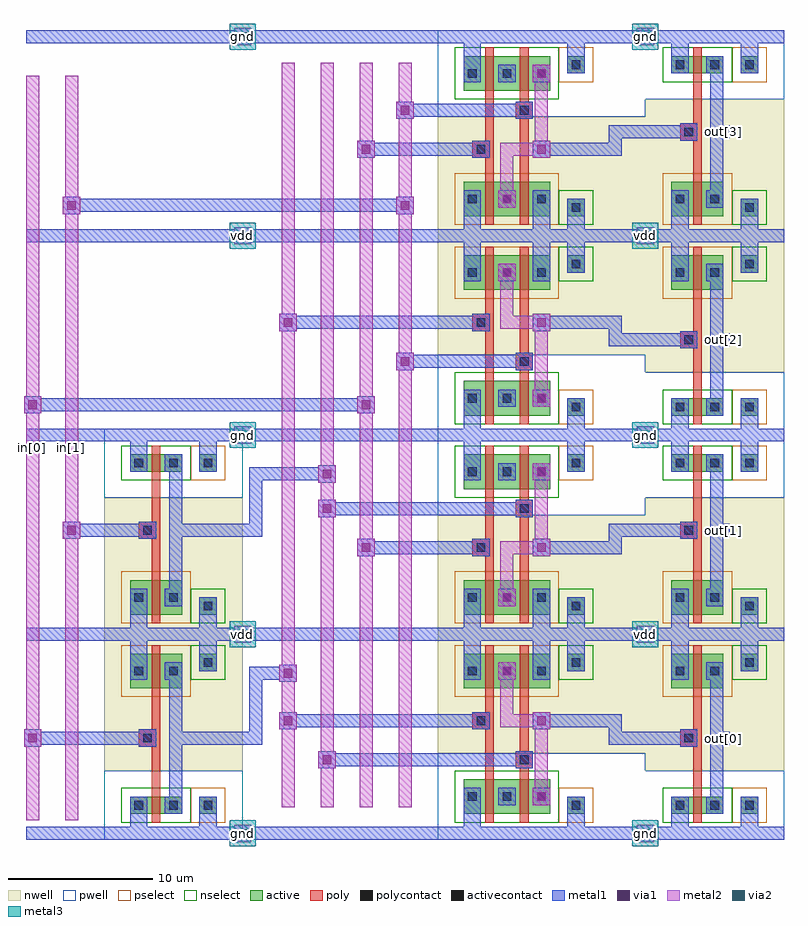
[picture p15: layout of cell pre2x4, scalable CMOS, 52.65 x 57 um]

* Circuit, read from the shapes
.subckt pre2x4 gnd in[0] in[1] out[0] out[1] out[2] out[3] vdd
M1 pnand2_3_6/A in[0] gnd gnd nfet w=1.2u l=0.6u
M2 pnand2_3_6/B in[1] gnd gnd nfet w=1.2u l=0.6u
M3 pnand2_3_6/nmos_m1_w2_4_a_p_2/D pnand2_3_6/A gnd gnd nfet w=2.4u l=0.6u
M4 pnand2_3_7/nmos_m1_w2_4_a_p_2/D in[0] gnd gnd nfet w=2.4u l=0.6u
M5 pnand2_3_8/nmos_m1_w2_4_a_p_2/D pnand2_3_6/A gnd gnd nfet w=2.4u l=0.6u
M6 pnand2_3_9/nmos_m1_w2_4_a_p_2/D in[0] gnd gnd nfet w=2.4u l=0.6u
M7 pinv_12_2/A pnand2_3_6/B pnand2_3_6/nmos_m1_w2_4_a_p_2/D gnd nfet w=2.4u l=0.6u
M8 pinv_12_3/A pnand2_3_6/B pnand2_3_7/nmos_m1_w2_4_a_p_2/D gnd nfet w=2.4u l=0.6u
M9 pinv_12_4/A in[1] pnand2_3_8/nmos_m1_w2_4_a_p_2/D gnd nfet w=2.4u l=0.6u
M10 pinv_12_5/A in[1] pnand2_3_9/nmos_m1_w2_4_a_p_2/D gnd nfet w=2.4u l=0.6u
M11 out[0] pinv_12_2/A gnd gnd nfet w=1.2u l=0.6u
M12 out[1] pinv_12_3/A gnd gnd nfet w=1.2u l=0.6u
M13 out[2] pinv_12_4/A gnd gnd nfet w=1.2u l=0.6u
M14 out[3] pinv_12_5/A gnd gnd nfet w=1.2u l=0.6u
M15 pnand2_3_6/A in[0] vdd vdd pfet w=2.4u l=0.6u
M16 pnand2_3_6/B in[1] vdd vdd pfet w=2.4u l=0.6u
M17 pinv_12_2/A pnand2_3_6/A vdd vdd pfet w=2.4u l=0.6u
M18 pinv_12_3/A in[0] vdd vdd pfet w=2.4u l=0.6u
M19 pinv_12_4/A pnand2_3_6/A vdd vdd pfet w=2.4u l=0.6u
M20 pinv_12_5/A in[0] vdd vdd pfet w=2.4u l=0.6u
M21 vdd pnand2_3_6/B pinv_12_2/A vdd pfet w=2.4u l=0.6u
M22 vdd pnand2_3_6/B pinv_12_3/A vdd pfet w=2.4u l=0.6u
M23 vdd in[1] pinv_12_4/A vdd pfet w=2.4u l=0.6u
M24 vdd in[1] pinv_12_5/A vdd pfet w=2.4u l=0.6u
M25 out[0] pinv_12_2/A vdd vdd pfet w=2.4u l=0.6u
M26 out[1] pinv_12_3/A vdd vdd pfet w=2.4u l=0.6u
M27 out[2] pinv_12_4/A vdd vdd pfet w=2.4u l=0.6u
M28 out[3] pinv_12_5/A vdd vdd pfet w=2.4u l=0.6u
.ends

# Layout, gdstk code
from math import pi, radians
import gdstk
lib = gdstk.Library(unit=1e-6, precision=1e-09)
def R(c, l, rs):  # rectangles x0, y0, x1, y1
    for r in rs: c.add(gdstk.rectangle(r[:2], r[2:], *l))
def A(c, l, x, y, w, h, nx, ny, dx, dy):  # array of equal rectangles
    R(c, l, [(x+i*dx, y+j*dy, x+i*dx+w, y+j*dy+h) for i in range(nx) for j in range(ny)])
pwell = (41, 0)
nwell = (42, 0)
active = (43, 0)
pselect = (44, 0)
nselect = (45, 0)
poly = (46, 0)
polycontact = (47, 0)
activecontact = (48, 0)
metal1 = (49, 0)
via1 = (50, 0)
metal2 = (51, 0)
via2 = (61, 0)
metal3 = (62, 0)

active_contact_metal1_1x = lib.new_cell('active_contact_metal1_1x1_pn')
R(active_contact_metal1_1x, nwell, [(-1.8,-1.8,3,3)])
R(active_contact_metal1_1x, active, [(0,0,1.2,1.2)])
R(active_contact_metal1_1x, pselect, [(-0.6,-0.6,1.8,1.8)])
R(active_contact_metal1_1x, activecontact, [(0.3,0.3,0.9,0.9)])
R(active_contact_metal1_1x, metal1, [(0,0,1.2,1.2)])

pmos_m1_w2_4_a_p = lib.new_cell('pmos_m1_w2_4_a_p')
R(pmos_m1_w2_4_a_p, nwell, [(-1.8,-1.8,5.4,4.2)])
R(pmos_m1_w2_4_a_p, active, [(0,0,3.6,2.4)])
R(pmos_m1_w2_4_a_p, pselect, [(-0.6,-0.6,4.2,3)])
R(pmos_m1_w2_4_a_p, poly, [(1.5,-0.6,2.1,3), (1.5,-0.6,2.1,3)])
R(pmos_m1_w2_4_a_p, metal1, [(0,0.6,1.2,1.8), (2.4,0.6,3.6,1.8)])
pmos_m1_w2_4_a_p.add(gdstk.Reference(active_contact_metal1_1x, (0,0.6)))
pmos_m1_w2_4_a_p.add(gdstk.Reference(active_contact_metal1_1x, (2.4,0.6)))
pmos_m1_w2_4_a_p.add(gdstk.Label('G', (1.8,1.2), layer=46, texttype=0))
pmos_m1_w2_4_a_p.add(gdstk.Label('S', (0.6,1.2), layer=49, texttype=0))
pmos_m1_w2_4_a_p.add(gdstk.Label('D', (3,1.2), layer=49, texttype=0))

c_active_contact_metal1_1x = lib.new_cell('active_contact_metal1_1x1_np')
R(c_active_contact_metal1_1x, pwell, [(-1.8,-1.8,3,3)])
R(c_active_contact_metal1_1x, active, [(0,0,1.2,1.2)])
R(c_active_contact_metal1_1x, nselect, [(-0.6,-0.6,1.8,1.8)])
R(c_active_contact_metal1_1x, activecontact, [(0.3,0.3,0.9,0.9)])
R(c_active_contact_metal1_1x, metal1, [(0,0,1.2,1.2)])

nmos_m1_w1_2_a_p = lib.new_cell('nmos_m1_w1_2_a_p')
R(nmos_m1_w1_2_a_p, pwell, [(-1.8,-1.8,5.4,3)])
R(nmos_m1_w1_2_a_p, active, [(0,0,3.6,1.2)])
R(nmos_m1_w1_2_a_p, nselect, [(-0.6,-0.6,4.2,1.8)])
R(nmos_m1_w1_2_a_p, poly, [(1.5,-0.6,2.1,1.8), (1.5,-0.6,2.1,1.8)])
R(nmos_m1_w1_2_a_p, metal1, [(0,0,1.2,1.2), (2.4,0,3.6,1.2)])
nmos_m1_w1_2_a_p.add(gdstk.Reference(c_active_contact_metal1_1x, (0,0)))
nmos_m1_w1_2_a_p.add(gdstk.Reference(c_active_contact_metal1_1x, (2.4,0)))
nmos_m1_w1_2_a_p.add(gdstk.Label('G', (1.8,0.6), layer=46, texttype=0))
nmos_m1_w1_2_a_p.add(gdstk.Label('S', (0.6,0.6), layer=49, texttype=0))
nmos_m1_w1_2_a_p.add(gdstk.Label('D', (3,0.6), layer=49, texttype=0))

c_active_contact_metal1_1x_ = lib.new_cell('active_contact_metal1_1x1_nn')
R(c_active_contact_metal1_1x_, nwell, [(-1.8,-1.8,3,3)])
R(c_active_contact_metal1_1x_, active, [(0,0,1.2,1.2)])
R(c_active_contact_metal1_1x_, nselect, [(-0.6,-0.6,1.8,1.8)])
R(c_active_contact_metal1_1x_, activecontact, [(0.3,0.3,0.9,0.9)])
R(c_active_contact_metal1_1x_, metal1, [(0,0,1.2,1.2)])

c_active_contact_metal1_1x__ = lib.new_cell('active_contact_metal1_1x1_pp')
R(c_active_contact_metal1_1x__, pwell, [(-1.8,-1.8,3,3)])
R(c_active_contact_metal1_1x__, active, [(0,0,1.2,1.2)])
R(c_active_contact_metal1_1x__, pselect, [(-0.6,-0.6,1.8,1.8)])
R(c_active_contact_metal1_1x__, activecontact, [(0.3,0.3,0.9,0.9)])
R(c_active_contact_metal1_1x__, metal1, [(0,0,1.2,1.2)])

poly_contact_metal1_1x1 = lib.new_cell('poly_contact_metal1_1x1')
R(poly_contact_metal1_1x1, poly, [(0,0,1.2,1.2)])
R(poly_contact_metal1_1x1, polycontact, [(0.3,0.3,0.9,0.9)])
R(poly_contact_metal1_1x1, metal1, [(0,0,1.2,1.2)])

pinv_12 = lib.new_cell('pinv_12')
R(pinv_12, pwell, [(0,-0.45,9.6,4.35)])
R(pinv_12, nwell, [(0,4.35,9.6,14.25)])
R(pinv_12, poly, [(3.3,0.75,3.9,9.45), (3,6,3.3,7.2)])
R(pinv_12, metal1, [(0,-0.45,9.6,0.45), (1.8,-0.45,3,1.35), (6.6,0,7.8,1.95), (4.5,1.35,5.4,10.65), (2.4,6,3.6,7.2), (4.95,6.15,5.85,7.05), (1.8,10.65,3,14.25), (6.6,11.85,7.8,13.8), (0,13.35,9.6,14.25)])
pinv_12.add(gdstk.Reference(pmos_m1_w2_4_a_p, (1.8,10.05)))
pinv_12.add(gdstk.Reference(nmos_m1_w1_2_a_p, (1.8,1.35)))
pinv_12.add(gdstk.Reference(c_active_contact_metal1_1x_, (6.6,11.25)))
pinv_12.add(gdstk.Reference(c_active_contact_metal1_1x__, (6.6,1.35)))
pinv_12.add(gdstk.Reference(poly_contact_metal1_1x1, (2.4,6)))
pinv_12.add(gdstk.Label('gnd', (4.8,0), layer=49, texttype=0))
pinv_12.add(gdstk.Label('vdd', (4.8,13.8), layer=49, texttype=0))
pinv_12.add(gdstk.Label('A', (3,6.6), layer=49, texttype=0))
pinv_12.add(gdstk.Label('Z', (5.4,6.6), layer=49, texttype=0))

nmos_m1_w2_4_a_p = lib.new_cell('nmos_m1_w2_4_a_p')
R(nmos_m1_w2_4_a_p, pwell, [(-1.8,-1.8,5.4,4.2)])
R(nmos_m1_w2_4_a_p, active, [(0,0,3.6,2.4)])
R(nmos_m1_w2_4_a_p, nselect, [(-0.6,-0.6,4.2,3)])
R(nmos_m1_w2_4_a_p, poly, [(1.5,-0.6,2.1,3), (1.5,-0.6,2.1,3)])
R(nmos_m1_w2_4_a_p, metal1, [(0,0.6,1.2,1.8), (2.4,0.6,3.6,1.8)])
nmos_m1_w2_4_a_p.add(gdstk.Reference(c_active_contact_metal1_1x, (0,0.6)))
nmos_m1_w2_4_a_p.add(gdstk.Reference(c_active_contact_metal1_1x, (2.4,0.6)))
nmos_m1_w2_4_a_p.add(gdstk.Label('G', (1.8,1.2), layer=46, texttype=0))
nmos_m1_w2_4_a_p.add(gdstk.Label('S', (0.6,1.2), layer=49, texttype=0))
nmos_m1_w2_4_a_p.add(gdstk.Label('D', (3,1.2), layer=49, texttype=0))

metal1_via1_metal2_1x1 = lib.new_cell('metal1_via1_metal2_1x1')
R(metal1_via1_metal2_1x1, metal1, [(0,0,1.2,1.2)])
R(metal1_via1_metal2_1x1, via1, [(0.3,0.3,0.9,0.9)])
R(metal1_via1_metal2_1x1, metal2, [(0,0,1.2,1.2)])

pnand2_3 = lib.new_cell('pnand2_3')
R(pnand2_3, pwell, [(0,-0.45,14.4,5.55)])
R(pnand2_3, nwell, [(0,5.55,14.4,14.25)])
R(pnand2_3, poly, [(3.3,0.75,3.9,9.45), (5.7,0.75,6.3,9.45), (5.7,4.5,6,5.7), (3,7.2,3.3,8.4)])
R(pnand2_3, metal1, [(0,-0.45,14.4,0.45), (1.8,-0.45,3,1.95), (9,0,10.2,1.95), (5.4,4.5,6.6,5.7), (2.4,7.2,3.6,8.4), (6.6,7.2,7.8,8.4), (1.8,10.65,3,14.25), (6.6,10.65,7.8,14.25), (9,11.85,10.2,13.8), (0,13.35,14.4,14.25)])
R(pnand2_3, metal2, [(6.75,3.15,7.65,7.8), (4.35,7.35,5.25,8.25), (4.8,7.35,7.2,8.25), (6.75,7.35,7.65,8.25), (4.35,7.8,5.25,10.65)])
pnand2_3.add(gdstk.Reference(pmos_m1_w2_4_a_p, (1.8,10.05)))
pnand2_3.add(gdstk.Reference(pmos_m1_w2_4_a_p, (4.2,10.05)))
pnand2_3.add(gdstk.Reference(nmos_m1_w2_4_a_p, (1.8,1.35)))
pnand2_3.add(gdstk.Reference(nmos_m1_w2_4_a_p, (4.2,1.35)))
pnand2_3.add(gdstk.Reference(c_active_contact_metal1_1x_, (9,11.25)))
pnand2_3.add(gdstk.Reference(c_active_contact_metal1_1x__, (9,1.35)))
pnand2_3.add(gdstk.Reference(poly_contact_metal1_1x1, (6.6,4.5), rotation=pi/2))
pnand2_3.add(gdstk.Reference(poly_contact_metal1_1x1, (3.6,7.2), rotation=pi/2))
pnand2_3.add(gdstk.Reference(metal1_via1_metal2_1x1, (4.2,10.65)))
pnand2_3.add(gdstk.Reference(metal1_via1_metal2_1x1, (6.6,1.95)))
pnand2_3.add(gdstk.Reference(metal1_via1_metal2_1x1, (7.8,7.2), rotation=pi/2))
pnand2_3.add(gdstk.Label('gnd', (7.2,0), layer=49, texttype=0))
pnand2_3.add(gdstk.Label('vdd', (7.2,13.8), layer=49, texttype=0))
pnand2_3.add(gdstk.Label('B', (6,5.1), layer=49, texttype=0))
pnand2_3.add(gdstk.Label('A', (3,7.8), layer=49, texttype=0))
pnand2_3.add(gdstk.Label('Z', (7.2,7.8), layer=49, texttype=0))

metal2_via2_metal3_1x1 = lib.new_cell('metal2_via2_metal3_1x1')
R(metal2_via2_metal3_1x1, metal2, [(0.3,0.3,1.5,1.5)])
R(metal2_via2_metal3_1x1, via2, [(0.6,0.6,1.2,1.2)])
R(metal2_via2_metal3_1x1, metal3, [(0,0,1.8,1.8)])

pre2x4 = lib.new_cell('pre2x4')
R(pre2x4, metal1, [(0,-0.45,52.5,0.45), (20.85,4.65,33.9,5.55), (0.45,6.15,7.8,7.05), (11.25,6.15,15.9,7.05), (15.45,6.15,16.35,7.05), (40.35,6.15,41.25,7.05), (40.8,6.15,45.3,7.05), (47.85,6.15,48.75,7.05), (15.45,6.6,16.35,11.1), (40.35,6.6,41.25,7.8), (18.15,7.35,30.9,8.25), (36.3,7.35,40.8,8.25), (40.35,7.35,41.25,8.25), (15.45,10.65,16.35,11.55), (15.9,10.65,18.15,11.55), (0,13.35,52.5,14.25), (0,13.35,52.5,14.25), (23.55,19.35,30.9,20.25), (36.3,19.35,40.8,20.25), (40.35,19.35,41.25,20.25), (40.35,19.8,41.25,21), (3.15,20.55,7.8,21.45), (11.25,20.55,15.9,21.45), (15.45,20.55,16.35,21.45), (40.35,20.55,41.25,21.45), (40.8,20.55,45.3,21.45), (47.85,20.55,48.75,21.45), (15.45,21,16.35,24.9), (20.85,22.05,33.9,22.95), (15.45,24.45,16.35,25.35), (15.9,24.45,20.85,25.35), (0,27.15,52.5,28.05), (0,27.15,52.5,28.05), (0.45,29.25,23.55,30.15), (26.25,32.25,33.9,33.15), (40.35,33.75,41.25,34.65), (40.8,33.75,45.3,34.65), (47.85,33.75,48.75,34.65), (40.35,34.2,41.25,35.4), (18.15,34.95,30.9,35.85), (36.3,34.95,40.8,35.85), (40.35,34.95,41.25,35.85), (0,40.95,52.5,41.85), (0,40.95,52.5,41.85), (3.15,43.05,26.25,43.95), (23.55,46.95,30.9,47.85), (36.3,46.95,40.8,47.85), (40.35,46.95,41.25,47.85), (40.35,47.4,41.25,48.6), (40.35,48.15,41.25,49.05), (40.8,48.15,45.3,49.05), (47.85,48.15,48.75,49.05), (26.25,49.65,33.9,50.55), (0,54.75,52.5,55.65)])
A(pre2x4, metal2, 17.7, 1.8, 0.9, 51.6, 4, 1, 2.7, 0)
R(pre2x4, metal2, [(0,0.9,0.9,52.5), (2.7,0.9,3.6,52.5)])
A(pre2x4, metal3, 14.25, -0.75, 1.5, 1.5, 1, 5, 0, 13.8)
A(pre2x4, metal3, 42.15, -0.75, 1.5, 1.5, 1, 5, 0, 13.8)
pre2x4.add(gdstk.Reference(pinv_12, (5.4,0)))
pre2x4.add(gdstk.Reference(pinv_12, (5.4,27.6), x_reflection=True))
pre2x4.add(gdstk.Reference(pinv_12, (42.9,0)))
pre2x4.add(gdstk.Reference(pinv_12, (42.9,27.6), x_reflection=True))
pre2x4.add(gdstk.Reference(pinv_12, (42.9,27.6)))
pre2x4.add(gdstk.Reference(pinv_12, (42.9,55.2), x_reflection=True))
pre2x4.add(gdstk.Reference(pnand2_3, (28.5,0)))
pre2x4.add(gdstk.Reference(pnand2_3, (28.5,27.6), x_reflection=True))
pre2x4.add(gdstk.Reference(pnand2_3, (28.5,27.6)))
pre2x4.add(gdstk.Reference(pnand2_3, (28.5,55.2), x_reflection=True))
pre2x4.add(gdstk.Reference(metal1_via1_metal2_1x1, (18.75,10.5), rotation=pi/2))
pre2x4.add(gdstk.Reference(metal1_via1_metal2_1x1, (1.05,6), rotation=pi/2))
pre2x4.add(gdstk.Reference(metal1_via1_metal2_1x1, (21.45,24.3), rotation=pi/2))
pre2x4.add(gdstk.Reference(metal1_via1_metal2_1x1, (3.75,20.4), rotation=pi/2))
pre2x4.add(gdstk.Reference(metal1_via1_metal2_1x1, (1.05,29.1), rotation=pi/2))
pre2x4.add(gdstk.Reference(metal1_via1_metal2_1x1, (24.15,29.1), rotation=pi/2))
pre2x4.add(gdstk.Reference(metal1_via1_metal2_1x1, (3.75,42.9), rotation=pi/2))
pre2x4.add(gdstk.Reference(metal1_via1_metal2_1x1, (26.85,42.9), rotation=pi/2))
pre2x4.add(gdstk.Reference(metal1_via1_metal2_1x1, (18.75,7.2), rotation=pi/2))
pre2x4.add(gdstk.Reference(metal1_via1_metal2_1x1, (21.45,4.5), rotation=pi/2))
pre2x4.add(gdstk.Reference(metal1_via1_metal2_1x1, (24.15,19.2), rotation=pi/2))
pre2x4.add(gdstk.Reference(metal1_via1_metal2_1x1, (21.45,21.9), rotation=pi/2))
pre2x4.add(gdstk.Reference(metal1_via1_metal2_1x1, (18.75,34.8), rotation=pi/2))
pre2x4.add(gdstk.Reference(metal1_via1_metal2_1x1, (26.85,32.1), rotation=pi/2))
pre2x4.add(gdstk.Reference(metal1_via1_metal2_1x1, (24.15,46.8), rotation=pi/2))
pre2x4.add(gdstk.Reference(metal1_via1_metal2_1x1, (26.85,49.5), rotation=pi/2))
pre2x4.add(gdstk.Reference(metal1_via1_metal2_1x1, (15.6,13.2), rotation=pi/2))
pre2x4.add(gdstk.Reference(metal2_via2_metal3_1x1, (15.9,12.9), rotation=pi/2))
pre2x4.add(gdstk.Reference(metal1_via1_metal2_1x1, (43.5,13.2), rotation=pi/2))
pre2x4.add(gdstk.Reference(metal2_via2_metal3_1x1, (43.8,12.9), rotation=pi/2))
pre2x4.add(gdstk.Reference(metal1_via1_metal2_1x1, (15.6,-0.6), rotation=pi/2))
pre2x4.add(gdstk.Reference(metal2_via2_metal3_1x1, (15.9,-0.9), rotation=pi/2))
pre2x4.add(gdstk.Reference(metal1_via1_metal2_1x1, (43.5,-0.6), rotation=pi/2))
pre2x4.add(gdstk.Reference(metal2_via2_metal3_1x1, (43.8,-0.9), rotation=pi/2))
pre2x4.add(gdstk.Reference(metal1_via1_metal2_1x1, (15.6,13.2), rotation=pi/2))
pre2x4.add(gdstk.Reference(metal2_via2_metal3_1x1, (15.9,12.9), rotation=pi/2))
pre2x4.add(gdstk.Reference(metal1_via1_metal2_1x1, (43.5,13.2), rotation=pi/2))
pre2x4.add(gdstk.Reference(metal2_via2_metal3_1x1, (43.8,12.9), rotation=pi/2))
pre2x4.add(gdstk.Reference(metal1_via1_metal2_1x1, (15.6,27), rotation=pi/2))
pre2x4.add(gdstk.Reference(metal2_via2_metal3_1x1, (15.9,26.7), rotation=pi/2))
pre2x4.add(gdstk.Reference(metal1_via1_metal2_1x1, (43.5,27), rotation=pi/2))
pre2x4.add(gdstk.Reference(metal2_via2_metal3_1x1, (43.8,26.7), rotation=pi/2))
pre2x4.add(gdstk.Reference(metal1_via1_metal2_1x1, (15.6,40.8), rotation=pi/2))
pre2x4.add(gdstk.Reference(metal2_via2_metal3_1x1, (15.9,40.5), rotation=pi/2))
pre2x4.add(gdstk.Reference(metal1_via1_metal2_1x1, (43.5,40.8), rotation=pi/2))
pre2x4.add(gdstk.Reference(metal2_via2_metal3_1x1, (43.8,40.5), rotation=pi/2))
pre2x4.add(gdstk.Reference(metal1_via1_metal2_1x1, (15.6,27), rotation=pi/2))
pre2x4.add(gdstk.Reference(metal2_via2_metal3_1x1, (15.9,26.7), rotation=pi/2))
pre2x4.add(gdstk.Reference(metal1_via1_metal2_1x1, (43.5,27), rotation=pi/2))
pre2x4.add(gdstk.Reference(metal2_via2_metal3_1x1, (43.8,26.7), rotation=pi/2))
pre2x4.add(gdstk.Reference(metal1_via1_metal2_1x1, (15.6,40.8), rotation=pi/2))
pre2x4.add(gdstk.Reference(metal2_via2_metal3_1x1, (15.9,40.5), rotation=pi/2))
pre2x4.add(gdstk.Reference(metal1_via1_metal2_1x1, (43.5,40.8), rotation=pi/2))
pre2x4.add(gdstk.Reference(metal2_via2_metal3_1x1, (43.8,40.5), rotation=pi/2))
pre2x4.add(gdstk.Reference(metal1_via1_metal2_1x1, (15.6,54.6), rotation=pi/2))
pre2x4.add(gdstk.Reference(metal2_via2_metal3_1x1, (15.9,54.3), rotation=pi/2))
pre2x4.add(gdstk.Reference(metal1_via1_metal2_1x1, (43.5,54.6), rotation=pi/2))
pre2x4.add(gdstk.Reference(metal2_via2_metal3_1x1, (43.8,54.3), rotation=pi/2))
pre2x4.add(gdstk.Label('in[0]', (0.45,26.7), layer=51, texttype=0))
pre2x4.add(gdstk.Label('in[1]', (3.15,26.7), layer=51, texttype=0))
pre2x4.add(gdstk.Label('out[0]', (48.3,6.6), layer=49, texttype=0))
pre2x4.add(gdstk.Label('out[1]', (48.3,21), layer=49, texttype=0))
pre2x4.add(gdstk.Label('out[2]', (48.3,34.2), layer=49, texttype=0))
pre2x4.add(gdstk.Label('out[3]', (48.3,48.6), layer=49, texttype=0))
pre2x4.add(gdstk.Label('vdd', (15,13.8), layer=62, texttype=0))
pre2x4.add(gdstk.Label('vdd', (42.9,13.8), layer=62, texttype=0))
pre2x4.add(gdstk.Label('vdd', (15,41.4), layer=62, texttype=0))
pre2x4.add(gdstk.Label('vdd', (42.9,41.4), layer=62, texttype=0))
pre2x4.add(gdstk.Label('gnd', (15,0), layer=62, texttype=0))
pre2x4.add(gdstk.Label('gnd', (42.9,0), layer=62, texttype=0))
pre2x4.add(gdstk.Label('gnd', (15,27.6), layer=62, texttype=0))
pre2x4.add(gdstk.Label('gnd', (42.9,27.6), layer=62, texttype=0))
pre2x4.add(gdstk.Label('gnd', (15,55.2), layer=62, texttype=0))
pre2x4.add(gdstk.Label('gnd', (42.9,55.2), layer=62, texttype=0))

lib.write_gds('pre2x4.gds')
